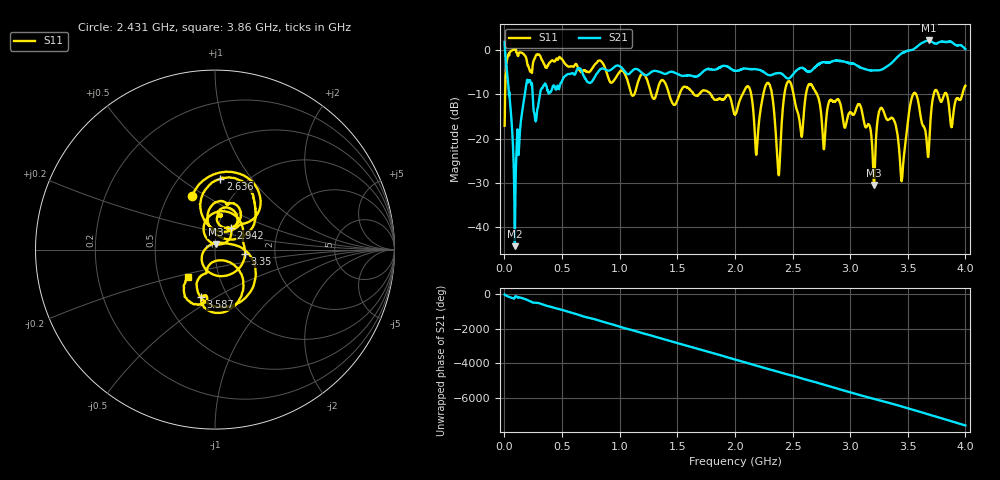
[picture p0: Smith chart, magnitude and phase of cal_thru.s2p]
!Created with skrf (http://scikit-rf.org).
# GHz S RI R 50.0
!freq ReS11 ImS11 ReS21 ImS21 ReS12 ImS12 ReS22 ImS22
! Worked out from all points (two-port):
!   4000 points, 1 MHz to 4 GHz, reference 50 ohm
!   highest |S21| = 2.10 dB at 3.684 GHz (marker M1); lowest = -44.2 dB at 90 MHz (marker M2)
!   |S21| within 3 dB of the highest: start of sweep to 7.001 MHz; 3.443 GHz to end of sweep
!   lowest |S11| = -30.4 dB at 3.207 GHz (marker M3), VSWR 1.06, Z = 50.3 + j3 ohm
!   |S11| at or under -10 dB: 1.789 GHz to 2.066 GHz (277.3 MHz wide, 14.4 % of centre); 2.712 GHz to 3.547 GHz (835.3 MHz wide, 26.7 % of centre); 3.572 GHz to 3.724 GHz (152.1 MHz wide, 4.17 % of centre) (the widest 3 of 14)
!   S12 and S22 are empty: the file has one direction only
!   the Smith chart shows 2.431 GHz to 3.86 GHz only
!   S11 on the Smith chart (normalised r, x): 2.431 GHz: 0.66, +0.44; 2.636 GHz: 0.77, +0.72; 2.942 GHz: 1.15, +0.29; 3.35 GHz: 1.40, -0.08; 3.587 GHz: 0.75, -0.43; 3.86 GHz: 0.71, -0.23
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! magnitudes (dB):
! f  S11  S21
! 1 MHz  -17.1  1.8
! 90 MHz  0.0  -44.2
! 204 MHz  -3.5  -7.4
! 668 MHz  -5.0  -4.7
! 1.334 GHz  -8.4  -4.9
! 2.001 GHz  -14.4  -4.7
! 2.118 GHz  -8.3  -4.3
! 2.189 GHz  -22.9  -4.4
! 2.293 GHz  -7.6  -5.7
! 2.378 GHz  -28.1  -5.3
! 2.431 GHz  -9.7  -6.0
! 2.636 GHz  -8.1  -5.0
! 2.667 GHz  -8.0  -4.7
! 2.942 GHz  -16.5  -2.6
! 3.207 GHz  -30.4  -4.6
! 3.334 GHz  -15.7  -3.5
! 3.35 GHz  -15.4  -3.2
! 3.45 GHz  -29.0  -0.7
! 3.587 GHz  -11.2  0.8
! 3.684 GHz  -22.0  2.1
! 3.86 GHz  -13.4  1.8
! 4 GHz  -8.1  0.2
